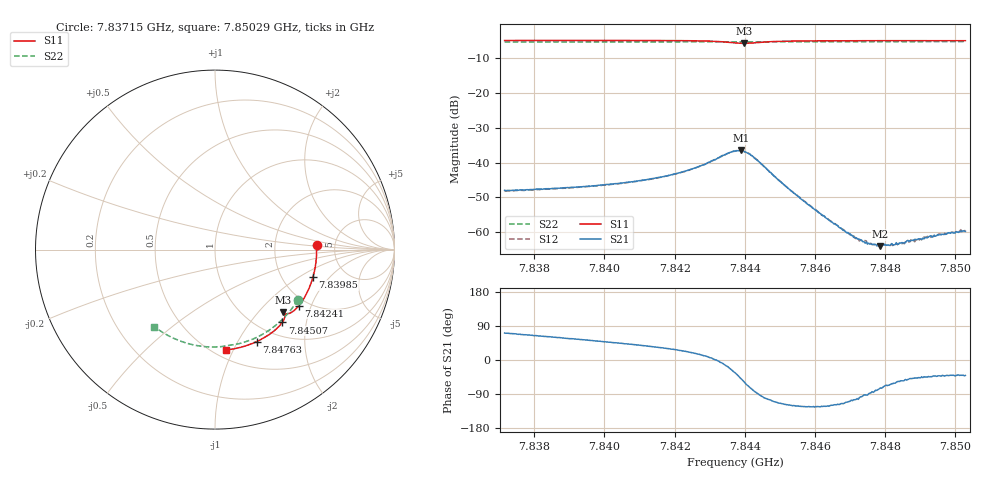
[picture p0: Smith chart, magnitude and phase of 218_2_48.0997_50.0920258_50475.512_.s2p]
#  HZ  S  RI  R  50.00
! Rohde & Schwarz Vector Network Analyzer
! Rohde-Schwarz,ZNB20-2Port,1311601062101988,3.16
! Created: UTC 12/23/2023, 3:56:28 AM
! freq[Hz]  re:S11  im:S11  re:S21  im:S21  re:S12  im:S12  re:S22  im:S22
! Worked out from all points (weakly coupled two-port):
!   401 points, 7.83715 GHz to 7.85029 GHz, reference 50 ohm
!   highest |S21| = -36.52 dB at 7.84389 GHz (marker M1); lowest = -64.0 dB at 7.84786 GHz (marker M2)
!   lowest |S11| = -5.8 dB at 7.84398 GHz (marker M3), VSWR 3.13, Z = 72.8 - j68.9 ohm
!   |S11| at or under -10 dB: nowhere
!   |S22| runs from -5.4 to -5.3 dB; largest |S21 - S12| = 0.00033
!   S11 on the Smith chart (normalised r, x): 7.83715 GHz: 3.59, +0.27; 7.83985 GHz: 2.96, -1.33; 7.84241 GHz: 1.80, -1.64; 7.84507 GHz: 1.25, -1.46; 7.84763 GHz: 0.80, -1.20; 7.85029 GHz: 0.57, -0.94
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7.837152e9  0.5657 0.0259  0.00127 0.00378  0.00127 0.00366  0.4619 -0.2792
7.839352e9  0.5541 -0.1199  0.00266 0.00364  0.00263 0.0036  0.3649 -0.3984
7.839845e9  0.546 -0.1522  0.00308 0.0036  0.00301 0.00356  0.3387 -0.421
7.841553e9  0.5021 -0.2603  0.00512 0.00334  0.00508 0.0034  0.2382 -0.4859
7.842407e9  0.468 -0.3115  0.00732 0.00283  0.00724 0.00282  0.1829 -0.5094
7.843261e9  0.4167 -0.3543  0.0117 -0.000693  0.0118 -0.000715  0.125 -0.5259
7.843721e9  0.3843 -0.3549  0.0122 -0.00807  0.0121 -0.00814  0.0942 -0.5309
7.843886e9  0.3803 -0.3497  0.00989 -0.0112  0.00972 -0.0111  0.0841 -0.5324
7.843984e9  0.3809 -0.3475  0.00768 -0.0122  0.00763 -0.0122  0.0777 -0.5334
7.844148e9  0.3851 -0.3483  0.00387 -0.0126  0.00404 -0.0126  0.0674 -0.5354
7.844345e9  0.3898 -0.3571  0.000466 -0.0109  0.000517 -0.011  0.0543 -0.5377
7.845068e9  0.3749 -0.4056  -0.00217 -0.00456  -0.00217 -0.00455  0.0037 -0.5427
7.845922e9  0.3325 -0.4505  -0.00127 -0.00189  -0.00124 -0.00187  -0.0564 -0.5407
7.846842e9  0.2804 -0.4873  -0.000424 -0.000966  -0.000389 -0.000985  -0.1204 -0.5308
7.847203e9  0.2592 -0.4995  -0.000166 -0.000795  -0.000166 -0.000832  -0.1452 -0.5246
7.847433e9  0.2452 -0.5066  -2.08e-05 -0.000696  -6.83e-05 -0.000755  -0.1606 -0.5205
7.84763e9  0.2332 -0.5123  7.5e-05 -0.000666  5.92e-05 -0.000662  -0.1739 -0.5163
7.84786e9  0.219 -0.5187  0.000174 -0.000607  0.000162 -0.000641  -0.189 -0.5111
7.848123e9  0.2026 -0.5252  0.000264 -0.00059  0.0003 -0.000588  -0.2064 -0.5044
7.84855e9  0.1758 -0.5348  0.000417 -0.000571  0.000408 -0.000548  -0.2338 -0.4925
7.849503e9  0.1144 -0.5511  0.000687 -0.000621  0.000655 -0.00063  -0.2925 -0.4607
7.850291e9  0.0625 -0.5591  0.000782 -0.000672  0.000813 -0.000692  -0.3377 -0.429
